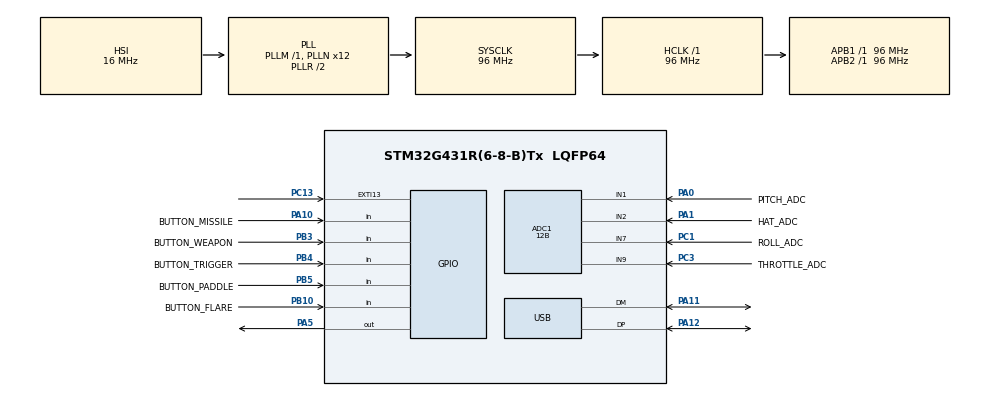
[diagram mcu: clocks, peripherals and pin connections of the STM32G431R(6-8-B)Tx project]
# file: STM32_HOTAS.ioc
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ADC1.Channel-0\#ChannelRegularConversion=ADC_CHANNEL_1
ADC1.ContinuousConvMode=ENABLE
ADC1.DMAContinuousRequests=ENABLE
ADC1.EOCSelection=ADC_EOC_SEQ_CONV
ADC1.NbrOfConversionFlag=1
ADC1.OffsetNumber-0\#ChannelRegularConversion=ADC_OFFSET_NONE
ADC1.Rank-0\#ChannelRegularConversion=1
ADC1.Resolution=ADC_RESOLUTION_12B
ADC1.SamplingTime-0\#ChannelRegularConversion=ADC_SAMPLETIME_2CYCLES_5
ADC1.master=1
Dma.ADC1.0.Direction=DMA_PERIPH_TO_MEMORY
Dma.ADC1.0.EventEnable=DISABLE
Dma.ADC1.0.Instance=DMA1_Channel1
Dma.ADC1.0.MemDataAlignment=DMA_MDATAALIGN_HALFWORD
Dma.ADC1.0.MemInc=DMA_MINC_ENABLE
Dma.ADC1.0.Mode=DMA_CIRCULAR
Dma.ADC1.0.PeriphDataAlignment=DMA_PDATAALIGN_HALFWORD
Dma.ADC1.0.PeriphInc=DMA_PINC_DISABLE
Dma.ADC1.0.Polarity=HAL_DMAMUX_REQ_GEN_RISING
Dma.ADC1.0.Priority=DMA_PRIORITY_HIGH
Dma.ADC1.0.RequestNumber=1
Dma.ADC1.0.SignalID=NONE
Dma.ADC1.0.SyncEnable=DISABLE
Dma.ADC1.0.SyncPolarity=HAL_DMAMUX_SYNC_NO_EVENT
Dma.ADC1.0.SyncRequestNumber=1
Dma.ADC1.0.SyncSignalID=NONE
Dma.Request0=ADC1
Mcu.Family=STM32G4
Mcu.Name=STM32G431R(6-8-B)Tx
Mcu.Package=LQFP64
NUCLEO-G431RB.BUTTON=1
NUCLEO-G431RB.LD1=true
NUCLEO-G431RB.VCP=true
NVIC.DMA1_Channel1_IRQn=true\:0\:0\:false\:false\:true\:false\:true\:true
NVIC.EXTI15_10_IRQn=true\:0\:0\:false\:false\:true\:false\:true\:true
NVIC.PriorityGroup=NVIC_PRIORITYGROUP_4
NVIC.USB_LP_IRQn=true\:0\:0\:false\:false\:true\:false\:true\:true
PA0.GPIO_Label=PITCH_ADC
PA0.Mode=IN1-Single-Ended
PA0.Signal=ADC1_IN1
PA1.GPIO_Label=HAT_ADC
PA1.Mode=IN2-Single-Ended
PA1.Signal=ADC1_IN2
PA10.GPIO_Label=BUTTON_MISSILE
PA10.Signal=GPIO_Input
PA11.Mode=Device
PA11.Signal=USB_DM
PA12.Mode=Device
PA12.Signal=USB_DP
PA13.GPIO_Label=T_SWDIO
PA13.Signal=SYS_JTMS-SWDIO
PA14.GPIO_Label=T_SWCLK
PA14.Signal=SYS_JTCK-SWCLK
PA2.Signal=LPUART1_TX
PA3.Signal=LPUART1_RX
PA5.Signal=GPIO_Output
PB10.GPIO_Label=BUTTON_FLARE
PB10.Signal=GPIO_Input
PB3.GPIO_Label=BUTTON_WEAPON
PB3.Signal=GPIO_Input
PB4.GPIO_Label=BUTTON_TRIGGER
PB4.Signal=GPIO_Input
PB5.GPIO_Label=BUTTON_PADDLE
PB5.Signal=GPIO_Input
PC1.GPIO_Label=ROLL_ADC
PC1.Mode=IN7-Single-Ended
PC1.Signal=ADC1_IN7
PC13.Signal=GPXTI13
PC14-OSC32_IN.GPIO_Label=RCC_OSC32_OUT
PC14-OSC32_IN.Signal=RCC_OSC32_IN
PC15-OSC32_OUT.GPIO_Label=RCC_OSC32_OUT
PC15-OSC32_OUT.Signal=RCC_OSC32_OUT
PC3.GPIO_Label=THROTTLE_ADC
PC3.Mode=IN9-Single-Ended
PC3.Signal=ADC1_IN9
PF0-OSC_IN.GPIO_Label=RCC_OSC_IN
PF0-OSC_IN.Signal=RCC_OSC_IN
PF1-OSC_OUT.GPIO_Label=RCC_OSC_OUT
PF1-OSC_OUT.Signal=RCC_OSC_OUT
ProjectManager.HeapSize=0x200
ProjectManager.StackSize=0x400
ProjectManager.TargetToolchain=STM32CubeIDE
RCC.ADC12Freq_Value=96000000
RCC.AHBFreq_Value=96000000
RCC.APB1Freq_Value=96000000
RCC.APB1TimFreq_Value=96000000
RCC.APB2Freq_Value=96000000
RCC.APB2TimFreq_Value=96000000
RCC.CortexFreq_Value=96000000
RCC.EXTERNAL_CLOCK_VALUE=12288000
RCC.HCLKFreq_Value=96000000
RCC.HSE_VALUE=24000000
RCC.HSI48_VALUE=48000000
RCC.HSI_VALUE=16000000
RCC.LSE_VALUE=32768
RCC.PLLN=12
RCC.PLLQ=RCC_PLLQ_DIV4
RCC.RTCClockSelection=RCC_RTCCLKSOURCE_LSE
RCC.SYSCLKFreq_VALUE=96000000
RCC.SYSCLKSource=RCC_SYSCLKSOURCE_PLLCLK
RCC.USBFreq_Value=48000000
RCC.VCOOutputFreq_Value=192000000
USB_DEVICE.CLASS_NAME_FS=HID
USB_DEVICE.VirtualMode=Hid
USB_DEVICE.VirtualModeFS=Hid_FS
VP_NUCLEO-G431RB_VS_BSP_COMMON.Mode=COMMON
VP_SYS_VS_DBSignals.Mode=DisableDeadBatterySignals
VP_USB_DEVICE_VS_USB_DEVICE_HID_FS.Mode=HID_FS
board=NUCLEO-G431RB

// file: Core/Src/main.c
/* USER CODE BEGIN Header */
/**
  ******************************************************************************
  * @file           : main.c
  * @brief          : Main program body
  ******************************************************************************
  * @attention
  *
  * Copyright (c) 2025 STMicroelectronics.
  * All rights reserved.
  *
  * This software is licensed under terms that can be found in the LICENSE file
  * in the root directory of this software component.
  * If no LICENSE file comes with this software, it is provided AS-IS.
  *
  ******************************************************************************
  */
/* USER CODE END Header */
#include "main.h"
#include "usb_device.h"
#include "usbd_hid.h"

/* USER CODE BEGIN PD */

#define AXIS_MAX 1023

//DMA buffer for the ADC channels (pitch, roll, throttle, hat)
volatile uint16_t adc_buf[4]; // 0=Pitch, 1=Roll, 2=Throttle, 3=Yaw

/* USER CODE END PD */

COM_InitTypeDef BspCOMInit;
ADC_HandleTypeDef hadc1;
DMA_HandleTypeDef hdma_adc1;

/* USER CODE BEGIN PV */
extern USBD_HandleTypeDef hUsbDeviceFS;
/* USER CODE END PV */

void SystemClock_Config(void);
static void MX_GPIO_Init(void);
static void MX_DMA_Init(void);
static void MX_ADC1_Init(void);

/* USER CODE BEGIN 0 */
typedef struct {
    uint16_t pitch;    // X      — 0–1023  (2 bytes)
    uint16_t roll;     // Y      — 0–1023  (2 bytes)
    uint16_t throttle; // Slider — 0–1023  (2 bytes)
    uint16_t yaw;      // Rz     — 0–1023  (2 bytes)
    uint16_t buttons;  // 10 buttons + 6 bit padding  (2 bytes)
} __attribute__((packed)) HID_JoystickReport_t;  // total: 10 bytes

uint16_t read_hardware_buttons(void)
{
    uint16_t b = 0;

    // Hardware Buttons (bits 0-4)
    b |= (HAL_GPIO_ReadPin(BUTTON_WEAPON_GPIO_Port, BUTTON_WEAPON_Pin) == GPIO_PIN_RESET) << 0;
    b |= (HAL_GPIO_ReadPin(BUTTON_TRIGGER_GPIO_Port, BUTTON_TRIGGER_Pin) == GPIO_PIN_RESET) << 1;
    b |= (HAL_GPIO_ReadPin(BUTTON_FLARE_GPIO_Port, BUTTON_FLARE_Pin) == GPIO_PIN_RESET) << 2;
    b |= (HAL_GPIO_ReadPin(BUTTON_MISSILE_GPIO_Port, BUTTON_MISSILE_Pin) == GPIO_PIN_RESET) << 3;
    b |= (HAL_GPIO_ReadPin(BUTTON_PADDLE_GPIO_Port, BUTTON_PADDLE_Pin) == GPIO_PIN_RESET) << 4;

    return b;
}

volatile uint8_t adc_ready = 0;

void HAL_ADC_ConvCpltCallback(ADC_HandleTypeDef *hadc)
{
    if(hadc->Instance == ADC1)
        adc_ready = 1;
}

// Simple Moving Average — window size N
// Larger N = smoother but more lag
// At 100Hz: N=16 = 160ms lag, N=8 = 80ms, N=32 = 320ms

#define SMA_SIZE 16  // tune this one value for all axes

typedef struct {
    uint16_t buf[SMA_SIZE];
    uint8_t  idx;
    uint32_t sum;
    uint8_t  full;  // 0 until buffer is filled on startup
} SMA_t;

static inline void SMA_init(SMA_t *f, uint16_t initial)
{
    for (int i = 0; i < SMA_SIZE; i++) f->buf[i] = initial;
    f->sum  = (uint32_t)initial * SMA_SIZE;
    f->idx  = 0;
    f->full = 1;
}

static inline uint16_t SMA_update(SMA_t *f, uint16_t input)
{
    f->sum -= f->buf[f->idx];
    f->buf[f->idx] = input;
    f->sum += input;
    f->idx = (f->idx + 1) % SMA_SIZE;
    return (uint16_t)(f->sum / SMA_SIZE);
}

// Using DMA on Both ADC1 and ADC2
#define ADC_HID_PITCH    adc_buf[0]
#define ADC_HID_ROLL     adc_buf[1]
#define ADC_HID_THROTTLE adc_buf[2]
#define ADC_HID_YAW      adc_buf[3]

void joystick_task(void) //build and send the HID report
{
//	if(!adc_ready) return;  // wait for full sequence
//	adc_ready = 0;          // consume sample

    static uint32_t last_tick = 0;

	// SMA filters
	static SMA_t sma_pitch = {0};
	static SMA_t sma_roll = {0};
	static SMA_t sma_throttle = {0};
	static SMA_t sma_yaw = {0};
	static uint8_t sma_ready = 0;

	if (HAL_GetTick() - last_tick < 10) //limits to 100Hz (10ms interval)
		return;

	last_tick = HAL_GetTick();

	//12 bit ADC precision for STM32G431
	uint16_t x = ADC_HID_PITCH >> 2; 		//pitch
	uint16_t y = ADC_HID_ROLL >> 2; 		//roll
	uint16_t z = ADC_HID_THROTTLE >> 2;   	// throttle
	uint16_t rz  = ADC_HID_YAW >> 2;  		// yaw (ADC2_IN2)

	// Init on first run with live values — avoids startup jump to zero
	if (!sma_ready) {
		SMA_init(&sma_pitch, x);
		SMA_init(&sma_roll, y);
		SMA_init(&sma_throttle, z);
		SMA_init(&sma_yaw, rz);
		sma_ready = 1;
	}

	// Apply SMA
	uint16_t sx = SMA_update(&sma_pitch, x);
	uint16_t sy = SMA_update(&sma_roll, y);
	uint16_t sz = SMA_update(&sma_throttle, z);
	uint16_t srz = SMA_update(&sma_yaw, rz);

	uint16_t buttons = read_hardware_buttons();

	HID_JoystickReport_t report;

	report.roll = AXIS_MAX - sx; 		// roll
	report.pitch = sy;			 		// pitch
	report.throttle = sz; 				// throttle
	report.yaw = srz;					// yaw
	report.buttons = buttons & 0x03FF;

    USBD_HID_SendReport(&hUsbDeviceFS,
                            (uint8_t*)&report,
                            sizeof(report));
}
/* USER CODE END 0 */

int main(void)
{

  /* MCU Configuration--------------------------------------------------------*/

  /* Reset of all peripherals, Initializes the Flash interface and the Systick. */
  HAL_Init();

  /* USER CODE BEGIN Init */
  __HAL_RCC_ADC12_CLK_ENABLE();

  /* USER CODE END Init */

  /* Configure the system clock */
  SystemClock_Config();

  /* Initialize all configured peripherals */
  MX_GPIO_Init();
  MX_DMA_Init();
  MX_USB_Device_Init();
  MX_ADC1_Init();

  /* Initialize leds */
  BSP_LED_Init(LED_GREEN);

  /* Initialize USER push-button, will be used to trigger an interrupt each time it's pressed.*/
  BSP_PB_Init(BUTTON_USER, BUTTON_MODE_EXTI);

  /* Initialize COM1 port (115200, 8 bits (7-bit data + 1 stop bit), no parity */
  BspCOMInit.BaudRate   = 115200;
  BspCOMInit.WordLength = COM_WORDLENGTH_8B;
  BspCOMInit.StopBits   = COM_STOPBITS_1;
  BspCOMInit.Parity     = COM_PARITY_NONE;
  BspCOMInit.HwFlowCtl  = COM_HWCONTROL_NONE;
  if (BSP_COM_Init(COM1, &BspCOMInit) != BSP_ERROR_NONE)
  {
    Error_Handler();
  }

  /* Infinite loop */
  /* USER CODE BEGIN WHILE */
  while (1)
  {

	  joystick_task();

    /* USER CODE END WHILE */

  }
}

void SystemClock_Config(void)
{
  RCC_OscInitTypeDef RCC_OscInitStruct = {0};
  RCC_ClkInitTypeDef RCC_ClkInitStruct = {0};

  /** Configure the main internal regulator output voltage
  */
  HAL_PWREx_ControlVoltageScaling(PWR_REGULATOR_VOLTAGE_SCALE1);

  /** Initializes the RCC Oscillators according to the specified parameters
  * in the RCC_OscInitTypeDef structure.
  */
  RCC_OscInitStruct.OscillatorType = RCC_OSCILLATORTYPE_HSI;
  RCC_OscInitStruct.HSIState = RCC_HSI_ON;
  RCC_OscInitStruct.HSICalibrationValue = RCC_HSICALIBRATION_DEFAULT;
  RCC_OscInitStruct.PLL.PLLState = RCC_PLL_ON;
  RCC_OscInitStruct.PLL.PLLSource = RCC_PLLSOURCE_HSI;
  RCC_OscInitStruct.PLL.PLLM = RCC_PLLM_DIV1;
  RCC_OscInitStruct.PLL.PLLN = 12;
  RCC_OscInitStruct.PLL.PLLP = RCC_PLLP_DIV2;
  RCC_OscInitStruct.PLL.PLLQ = RCC_PLLQ_DIV4;
  RCC_OscInitStruct.PLL.PLLR = RCC_PLLR_DIV2;
  if (HAL_RCC_OscConfig(&RCC_OscInitStruct) != HAL_OK)
  {
    Error_Handler();
  }

  /** Initializes the CPU, AHB and APB buses clocks
  */
  RCC_ClkInitStruct.ClockType = RCC_CLOCKTYPE_HCLK|RCC_CLOCKTYPE_SYSCLK
                              |RCC_CLOCKTYPE_PCLK1|RCC_CLOCKTYPE_PCLK2;
  RCC_ClkInitStruct.SYSCLKSource = RCC_SYSCLKSOURCE_PLLCLK;
  RCC_ClkInitStruct.AHBCLKDivider = RCC_SYSCLK_DIV1;
  RCC_ClkInitStruct.APB1CLKDivider = RCC_HCLK_DIV1;
  RCC_ClkInitStruct.APB2CLKDivider = RCC_HCLK_DIV1;

  if (HAL_RCC_ClockConfig(&RCC_ClkInitStruct, FLASH_LATENCY_3) != HAL_OK)
  {
    Error_Handler();
  }
}

static void MX_ADC1_Init(void)
{

  ADC_MultiModeTypeDef multimode = {0};
  ADC_ChannelConfTypeDef sConfig = {0};

  /** Common config
  */
  hadc1.Instance = ADC1;
  hadc1.Init.ClockPrescaler = ADC_CLOCK_SYNC_PCLK_DIV2;
  hadc1.Init.Resolution = ADC_RESOLUTION_12B;
  hadc1.Init.DataAlign = ADC_DATAALIGN_RIGHT;
  hadc1.Init.GainCompensation = 0;
  hadc1.Init.ScanConvMode = ADC_SCAN_ENABLE;
  hadc1.Init.EOCSelection = ADC_EOC_SEQ_CONV;
  hadc1.Init.LowPowerAutoWait = DISABLE;
  hadc1.Init.ContinuousConvMode = ENABLE;
  hadc1.Init.NbrOfConversion = 4;
  hadc1.Init.DiscontinuousConvMode = DISABLE;
  hadc1.Init.ExternalTrigConv = ADC_SOFTWARE_START;
  hadc1.Init.ExternalTrigConvEdge = ADC_EXTERNALTRIGCONVEDGE_NONE;
  hadc1.Init.DMAContinuousRequests = ENABLE;
  hadc1.Init.Overrun = ADC_OVR_DATA_PRESERVED;
  hadc1.Init.OversamplingMode = DISABLE;
  if (HAL_ADC_Init(&hadc1) != HAL_OK)
  {
    Error_Handler();
  }

  /** Configure the ADC multi-mode
  */
  multimode.Mode = ADC_MODE_INDEPENDENT;
  if (HAL_ADCEx_MultiModeConfigChannel(&hadc1, &multimode) != HAL_OK)
  {
    Error_Handler();
  }

  /* USER CODE BEGIN ADC1_Init 2 */
  // Pitch → ADC1_IN1 → PA0 → rank 1
  sConfig.Channel = ADC_CHANNEL_1;
  sConfig.Rank = ADC_REGULAR_RANK_1;
  sConfig.SamplingTime = ADC_SAMPLETIME_640CYCLES_5;
  sConfig.SingleDiff = ADC_SINGLE_ENDED;
  sConfig.OffsetNumber = ADC_OFFSET_NONE;
  sConfig.Offset = 0;
  if (HAL_ADC_ConfigChannel(&hadc1, &sConfig) != HAL_OK) { Error_Handler(); }

  // Roll → ADC1_IN7 → PC1 → rank 2
  sConfig.Channel = ADC_CHANNEL_7;
  sConfig.Rank = ADC_REGULAR_RANK_2;
  sConfig.SamplingTime = ADC_SAMPLETIME_640CYCLES_5;
  if (HAL_ADC_ConfigChannel(&hadc1, &sConfig) != HAL_OK) { Error_Handler(); }

  // Throttle → ADC1_IN9 → PC3 → rank 3
  sConfig.Channel = ADC_CHANNEL_9;
  sConfig.Rank = ADC_REGULAR_RANK_3;
  sConfig.SamplingTime = ADC_SAMPLETIME_640CYCLES_5;
  if (HAL_ADC_ConfigChannel(&hadc1, &sConfig) != HAL_OK) { Error_Handler(); }

  // Yaw → ADC1_IN2 → PA1 → rank 4
  sConfig.Channel = ADC_CHANNEL_2;
  sConfig.Rank = ADC_REGULAR_RANK_4;
  sConfig.SamplingTime = ADC_SAMPLETIME_640CYCLES_5;
  if (HAL_ADC_ConfigChannel(&hadc1, &sConfig) != HAL_OK) { Error_Handler(); }

  HAL_ADCEx_Calibration_Start(&hadc1, ADC_SINGLE_ENDED);
  HAL_ADC_Start_DMA(&hadc1, (uint32_t*)adc_buf, 4);
  /* USER CODE END ADC1_Init 2 */

}

static void MX_DMA_Init(void)
{

  /* DMA controller clock enable */
  __HAL_RCC_DMAMUX1_CLK_ENABLE();
  __HAL_RCC_DMA1_CLK_ENABLE();

  /* DMA interrupt init */
  /* DMA1_Channel1_IRQn interrupt configuration */
  HAL_NVIC_SetPriority(DMA1_Channel1_IRQn, 0, 0);
  HAL_NVIC_EnableIRQ(DMA1_Channel1_IRQn);

}

static void MX_GPIO_Init(void)
{
  GPIO_InitTypeDef GPIO_InitStruct = {0};

  /* GPIO Ports Clock Enable */
  __HAL_RCC_GPIOC_CLK_ENABLE();
  __HAL_RCC_GPIOF_CLK_ENABLE();
  __HAL_RCC_GPIOA_CLK_ENABLE();
  __HAL_RCC_GPIOB_CLK_ENABLE();

  /*Configure GPIO pins : BUTTON_FLARE_Pin BUTTON_WEAPON_Pin BUTTON_TRIGGER_Pin BUTTON_PADDLE_Pin */
  GPIO_InitStruct.Pin = BUTTON_FLARE_Pin|BUTTON_WEAPON_Pin|BUTTON_TRIGGER_Pin|BUTTON_PADDLE_Pin;
  GPIO_InitStruct.Mode = GPIO_MODE_INPUT;
  GPIO_InitStruct.Pull = GPIO_PULLUP;
  HAL_GPIO_Init(GPIOB, &GPIO_InitStruct);

  /*Configure GPIO pin : BUTTON_MISSILE_Pin */
  GPIO_InitStruct.Pin = BUTTON_MISSILE_Pin;
  GPIO_InitStruct.Mode = GPIO_MODE_INPUT;
  GPIO_InitStruct.Pull = GPIO_PULLUP;
  HAL_GPIO_Init(BUTTON_MISSILE_GPIO_Port, &GPIO_InitStruct);

}

void Error_Handler(void)
{
  __disable_irq();
  while (1)
  {
  }
}
